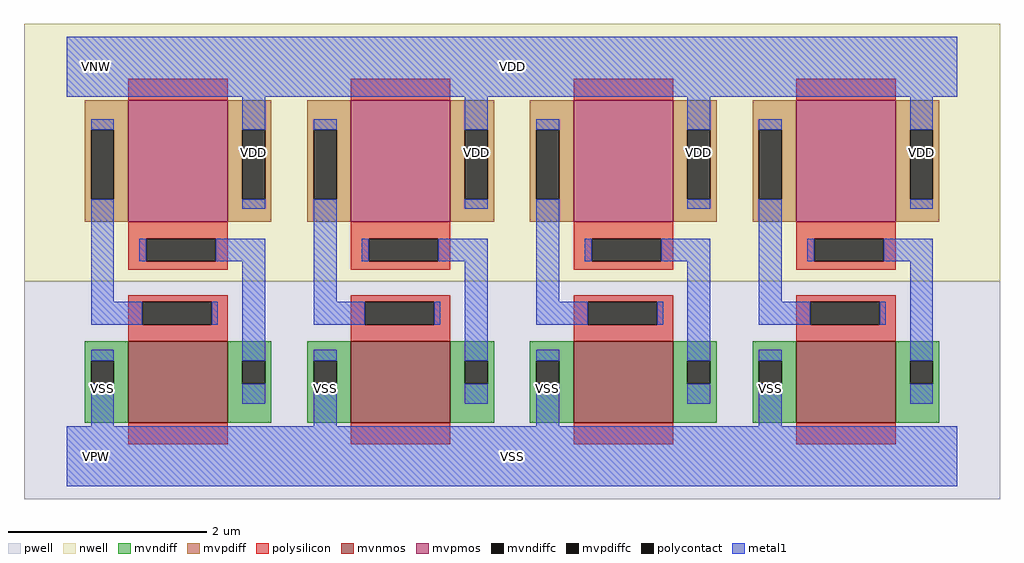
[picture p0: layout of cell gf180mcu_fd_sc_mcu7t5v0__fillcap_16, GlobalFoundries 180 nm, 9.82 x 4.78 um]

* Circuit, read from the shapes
.subckt gf180mcu_fd_sc_mcu7t5v0__fillcap_16 VDD VNW VPW VSS
XM1 n1 n2 VSS VPW nfet_06v0 w=0.82u l=1u
XM2 n3 n4 VSS VPW nfet_06v0 w=0.82u l=1u
XM3 n5 n6 VSS VPW nfet_06v0 w=0.82u l=1u
XM4 n7 n8 VSS VPW nfet_06v0 w=0.82u l=1u
XM5 VDD n1 n2 VNW pfet_06v0 w=1.22u l=1u
XM6 VDD n3 n4 VNW pfet_06v0 w=1.22u l=1u
XM7 VDD n5 n6 VNW pfet_06v0 w=1.22u l=1u
XM8 VDD n7 n8 VNW pfet_06v0 w=1.22u l=1u
.ends

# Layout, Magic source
magic
tech gf180mcuD
magscale 1 10
<< nwell >>
rect -86 352 1878 870
<< pwell >>
rect -86 -86 1878 352
<< mvnmos >>
rect 124 68 324 232
rect 572 68 772 232
rect 1020 68 1220 232
rect 1468 68 1668 232
<< mvpmos >>
rect 124 472 324 716
rect 572 472 772 716
rect 1020 472 1220 716
rect 1468 472 1668 716
<< mvndiff >>
rect 36 192 124 232
rect 36 146 49 192
rect 95 146 124 192
rect 36 68 124 146
rect 324 192 412 232
rect 324 146 353 192
rect 399 146 412 192
rect 324 68 412 146
rect 484 192 572 232
rect 484 146 497 192
rect 543 146 572 192
rect 484 68 572 146
rect 772 192 860 232
rect 772 146 801 192
rect 847 146 860 192
rect 772 68 860 146
rect 932 192 1020 232
rect 932 146 945 192
rect 991 146 1020 192
rect 932 68 1020 146
rect 1220 192 1308 232
rect 1220 146 1249 192
rect 1295 146 1308 192
rect 1220 68 1308 146
rect 1380 192 1468 232
rect 1380 146 1393 192
rect 1439 146 1468 192
rect 1380 68 1468 146
rect 1668 192 1756 232
rect 1668 146 1697 192
rect 1743 146 1756 192
rect 1668 68 1756 146
<< mvpdiff >>
rect 36 657 124 716
rect 36 517 49 657
rect 95 517 124 657
rect 36 472 124 517
rect 324 657 412 716
rect 324 517 353 657
rect 399 517 412 657
rect 324 472 412 517
rect 484 657 572 716
rect 484 517 497 657
rect 543 517 572 657
rect 484 472 572 517
rect 772 657 860 716
rect 772 517 801 657
rect 847 517 860 657
rect 772 472 860 517
rect 932 657 1020 716
rect 932 517 945 657
rect 991 517 1020 657
rect 932 472 1020 517
rect 1220 657 1308 716
rect 1220 517 1249 657
rect 1295 517 1308 657
rect 1220 472 1308 517
rect 1380 657 1468 716
rect 1380 517 1393 657
rect 1439 517 1468 657
rect 1380 472 1468 517
rect 1668 657 1756 716
rect 1668 517 1697 657
rect 1743 517 1756 657
rect 1668 472 1756 517
<< mvndiffc >>
rect 49 146 95 192
rect 353 146 399 192
rect 497 146 543 192
rect 801 146 847 192
rect 945 146 991 192
rect 1249 146 1295 192
rect 1393 146 1439 192
rect 1697 146 1743 192
<< mvpdiffc >>
rect 49 517 95 657
rect 353 517 399 657
rect 497 517 543 657
rect 801 517 847 657
rect 945 517 991 657
rect 1249 517 1295 657
rect 1393 517 1439 657
rect 1697 517 1743 657
<< polysilicon >>
rect 124 716 324 760
rect 572 716 772 760
rect 1020 716 1220 760
rect 1468 716 1668 760
rect 124 438 324 472
rect 124 392 160 438
rect 300 392 324 438
rect 124 375 324 392
rect 572 438 772 472
rect 572 392 608 438
rect 748 392 772 438
rect 572 375 772 392
rect 1020 438 1220 472
rect 1020 392 1056 438
rect 1196 392 1220 438
rect 1020 375 1220 392
rect 1468 438 1668 472
rect 1468 392 1504 438
rect 1644 392 1668 438
rect 1468 375 1668 392
rect 124 311 324 324
rect 124 265 152 311
rect 292 265 324 311
rect 124 232 324 265
rect 572 311 772 324
rect 572 265 600 311
rect 740 265 772 311
rect 572 232 772 265
rect 1020 311 1220 324
rect 1020 265 1048 311
rect 1188 265 1220 311
rect 1020 232 1220 265
rect 1468 311 1668 324
rect 1468 265 1496 311
rect 1636 265 1668 311
rect 1468 232 1668 265
rect 124 24 324 68
rect 572 24 772 68
rect 1020 24 1220 68
rect 1468 24 1668 68
<< polycontact >>
rect 160 392 300 438
rect 608 392 748 438
rect 1056 392 1196 438
rect 1504 392 1644 438
rect 152 265 292 311
rect 600 265 740 311
rect 1048 265 1188 311
rect 1496 265 1636 311
<< metal1 >>
rect 0 724 1792 844
rect 49 657 95 678
rect 49 311 95 517
rect 353 657 399 724
rect 353 498 399 517
rect 497 657 543 678
rect 146 392 160 438
rect 300 392 399 438
rect 49 265 152 311
rect 292 265 304 311
rect 49 192 95 214
rect 49 60 95 146
rect 353 192 399 392
rect 497 311 543 517
rect 801 657 847 724
rect 801 498 847 517
rect 945 657 991 678
rect 594 392 608 438
rect 748 392 847 438
rect 497 265 600 311
rect 740 265 752 311
rect 353 106 399 146
rect 497 192 543 214
rect 497 60 543 146
rect 801 192 847 392
rect 945 311 991 517
rect 1249 657 1295 724
rect 1249 498 1295 517
rect 1393 657 1439 678
rect 1042 392 1056 438
rect 1196 392 1295 438
rect 945 265 1048 311
rect 1188 265 1200 311
rect 801 106 847 146
rect 945 192 991 214
rect 945 60 991 146
rect 1249 192 1295 392
rect 1393 311 1439 517
rect 1697 657 1743 724
rect 1697 498 1743 517
rect 1490 392 1504 438
rect 1644 392 1743 438
rect 1393 265 1496 311
rect 1636 265 1648 311
rect 1249 106 1295 146
rect 1393 192 1439 214
rect 1393 60 1439 146
rect 1697 192 1743 392
rect 1697 106 1743 146
rect 0 -60 1792 60
<< labels >>
flabel metal1 s 0 724 1792 844 0 FreeSans 400 0 0 0 VDD
port 1 nsew power bidirectional abutment
flabel metal1 s 1393 60 1439 214 0 FreeSans 400 0 0 0 VSS
port 4 nsew ground bidirectional abutment
flabel nwell s 10 734 110 834 0 FreeSans 400 0 0 0 VNW
port 2 nsew power bidirectional
flabel pwell s 10 -50 110 50 0 FreeSans 400 0 0 0 VPW
port 3 nsew ground bidirectional
rlabel metal1 s 1697 498 1743 724 1 VDD
port 1 nsew power bidirectional abutment
rlabel metal1 s 1249 498 1295 724 1 VDD
port 1 nsew power bidirectional abutment
rlabel metal1 s 801 498 847 724 1 VDD
port 1 nsew power bidirectional abutment
rlabel metal1 s 353 498 399 724 1 VDD
port 1 nsew power bidirectional abutment
rlabel metal1 s 945 60 991 214 1 VSS
port 4 nsew ground bidirectional abutment
rlabel metal1 s 497 60 543 214 1 VSS
port 4 nsew ground bidirectional abutment
rlabel metal1 s 49 60 95 214 1 VSS
port 4 nsew ground bidirectional abutment
rlabel metal1 s 0 -60 1792 60 1 VSS
port 4 nsew ground bidirectional abutment
<< properties >>
string FIXED_BBOX 0 0 1792 784
string GDS_END 1166116
string GDS_FILE $PDKPATH/libs.ref/gf180mcu_fd_sc_mcu7t5v0/gds/gf180mcu_fd_sc_mcu7t5v0.gds
string GDS_START 1160476
string LEFclass core SPACER
string LEFsite GF018hv5v_mcu_sc7
string LEFsymmetry X Y
<< end >>
